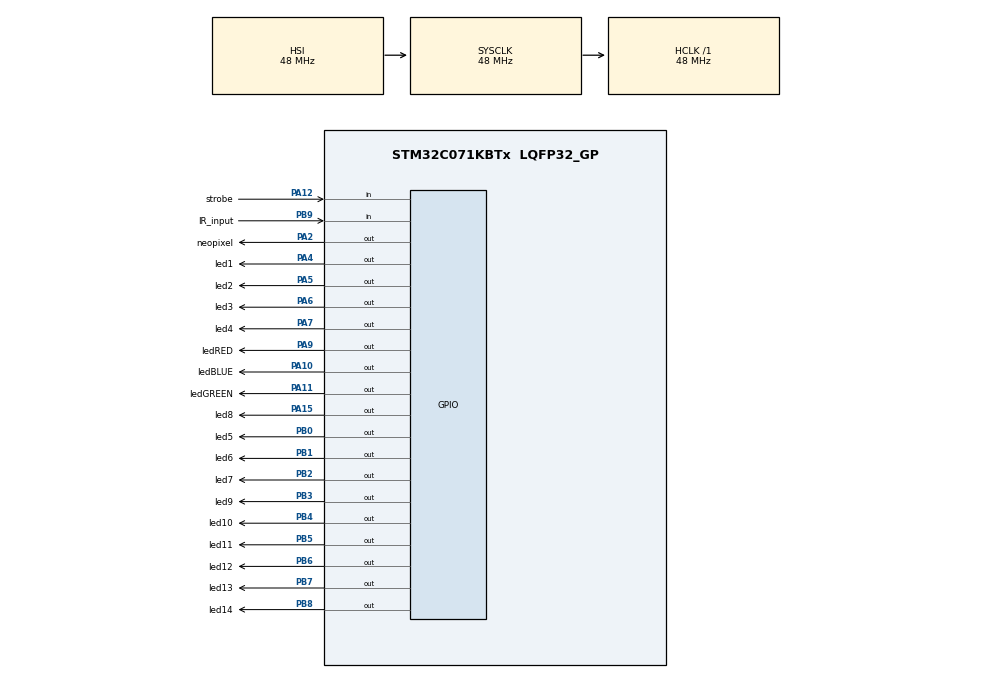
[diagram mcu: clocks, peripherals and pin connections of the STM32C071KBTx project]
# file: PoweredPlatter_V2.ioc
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Mcu.Family=STM32C0
Mcu.Name=STM32C071KBTx
Mcu.Package=LQFP32_GP
PA10.GPIO_Label=ledBLUE
PA10.Signal=GPIO_Output
PA11\ [PA9].GPIO_Label=ledGREEN
PA11\ [PA9].Signal=GPIO_Output
PA12\ [PA10].GPIO_Label=strobe
PA12\ [PA10].Signal=GPIO_Input
PA13.Mode=Serial_Wire
PA13.Signal=DEBUG_SWDIO
PA14-BOOT0.Mode=Serial_Wire
PA14-BOOT0.Signal=DEBUG_SWCLK
PA15.GPIO_Label=led8
PA15.Signal=GPIO_Output
PA2.GPIO_Label=neopixel
PA2.Signal=GPIO_Output
PA4.GPIO_Label=led1
PA4.Signal=GPIO_Output
PA5.GPIO_Label=led2
PA5.Signal=GPIO_Output
PA6.GPIO_Label=led3
PA6.Signal=GPIO_Output
PA7.GPIO_Label=led4
PA7.Signal=GPIO_Output
PA9.GPIO_Label=ledRED
PA9.Signal=GPIO_Output
PB0.GPIO_Label=led5
PB0.Signal=GPIO_Output
PB1.GPIO_Label=led6
PB1.Signal=GPIO_Output
PB2.GPIO_Label=led7
PB2.Signal=GPIO_Output
PB3.GPIO_Label=led9
PB3.Signal=GPIO_Output
PB4.GPIO_Label=led10
PB4.Signal=GPIO_Output
PB5.GPIO_Label=led11
PB5.Signal=GPIO_Output
PB6.GPIO_Label=led12
PB6.Signal=GPIO_Output
PB7.GPIO_Label=led13
PB7.Signal=GPIO_Output
PB8.GPIO_Label=led14
PB8.Signal=GPIO_Output
PB9.GPIO_Label=IR_input
PB9.Signal=GPIO_Input
ProjectManager.HeapSize=0x200
ProjectManager.StackSize=0x400
ProjectManager.TargetToolchain=CMake
RCC.ADCFreq_Value=48000000
RCC.AHBFreq_Value=48000000
RCC.CortexFreq_Value=48000000
RCC.EXTERNAL_CLOCK_VALUE=12288000
RCC.HCLKFreq_Value=48000000
RCC.HSE_VALUE=8000000
RCC.HSI48_VALUE=48000000
RCC.HSISYSCLKDivider=RCC_HSI_DIV1
RCC.HSI_VALUE=48000000
RCC.LSE_VALUE=32768
RCC.SYSCLKFreq_VALUE=48000000
TIM2.Prescaler=48-1
VP_TIM2_VS_ClockSourceINT.Mode=Internal
board=custom

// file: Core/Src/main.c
/* USER CODE BEGIN Header */
/**
  ******************************************************************************
  * @file           : main.c
  * @brief          : Main program body
  ******************************************************************************
  * @attention
  *
  * Copyright (c) 2026 STMicroelectronics.
  * All rights reserved.
  *
  * This software is licensed under terms that can be found in the LICENSE file
  * in the root directory of this software component.
  * If no LICENSE file comes with this software, it is provided AS-IS.
  *
  ******************************************************************************
  */
/* USER CODE END Header */
#include "main.h"

TIM_HandleTypeDef htim2;

/* USER CODE BEGIN PV */
uint32_t currentTime = 0; //generic time keeping variable (used everywhere, changes a lot)

uint32_t heartbeatPulseTime = 100; //for pulse timing
uint32_t heartbeatLastTime = 0; //for time tracking

//strobe signal variables - strobe signal is active LOW
uint8_t strobeState = 0; //current value of the strobe state
uint8_t prevStrobeState = 0; //previous reading of the strobe state
uint32_t strobeSignalLastTime = 0; //for signal timing (reading)
uint32_t strobeSignalPeriodTime = 2000; //period between signal pulses, set to large value to default to idle mode
uint32_t strobeSignalRunningCounter = 0; //running timer so we can jump to idle mode if needed

uint32_t rotationRunningModeCuttoff = 750; //how fast does the platter need to spin to go to running mode
uint8_t mode = 0; //0=idle, 1=running, 2=error

//idle mode variables
uint32_t idleModeLastTime = 0; //for time tracking the idle mode animation
uint32_t idleModeAnimationTime = 100; //animation speed control for idle mode
uint8_t idleModeAnimationIndex = 0; //animation current index for idle mode animation
uint8_t prevIdleModeAnimationIndex = 0; //for tracking when the index changes, to prevent unnecessary display updates
uint8_t idleModeAnimationMaxIndex = 7; //max animation index value before triggering rollover

//display variables
uint16_t display[150][7]; //values for each LED in the array X x Y, indexed bottom left corner
uint16_t frameCount = 150; //one frame for each column in the display
uint16_t blade2FrameOffset = 75; //used for second strip of LEDs
uint16_t frameIndex = 0; //what is the frame currently displayed
uint16_t prevFrameIndex = 0; //for tracking when frame index changes - prevent unnecessary updates
uint8_t frameTurnedOff = 0; //ensure the lights are not on too long - controls motion blur (flag to indicate if the lights have been turned off)
uint32_t frameOnTime = 8; //how long should the LEDs be on for - us
uint32_t frameTime = 0; //indexing time for each frame - rotation time / frames, converted from ms to us
uint32_t frameIndexTime = 0; //for timing reasons - control when to turn the LEDs OFF

//variables for display characters
//capital letters
uint8_t dotDisplay_A[7] = { 0b10001000, //A
                            0b10001000,
                            0b10001000,
                            0b11111000,
                            0b10001000,
                            0b10001000,
                            0b01110000};

uint8_t dotDisplay_B[7] = { 0b11110000, //B
                            0b10001000,
                            0b10001000,
                            0b11110000,
                            0b10001000,
                            0b10001000,
                            0b11110000};

uint8_t dotDisplay_C[7] = { 0b01111000, //C
                            0b10000000,
                            0b10000000,
                            0b10000000,
                            0b10000000,
                            0b10000000,
                            0b01111000};

uint8_t dotDisplay_D[7] = { 0b11110000, //D
                            0b10001000,
                            0b10001000,
                            0b10001000,
                            0b10001000,
                            0b10001000,
                            0b11110000};

uint8_t dotDisplay_E[7] = { 0b11111000, //E
                            0b10000000,
                            0b10000000,
                            0b11110000,
                            0b10000000,
                            0b10000000,
                            0b11111000};

uint8_t dotDisplay_F[7] = { 0b10000000, //F
                            0b10000000,
                            0b10000000,
                            0b11110000,
                            0b10000000,
                            0b10000000,
                            0b11111000};

uint8_t dotDisplay_G[7] = { 0b01111000, //G
                            0b10001000,
                            0b10001000,
                            0b10011000,
                            0b10000000,
                            0b10000000,
                            0b01111000};

uint8_t dotDisplay_H[7] = { 0b10001000, //H
                            0b10001000,
                            0b10001000,
                            0b11111000,
                            0b10001000,
                            0b10001000,
                            0b10001000};

uint8_t dotDisplay_I[7] = { 0b11111000, //I
                            0b00100000,
                            0b00100000,
                            0b00100000,
                            0b00100000,
                            0b00100000,
                            0b11111000};

uint8_t dotDisplay_J[7] = { 0b01110000, //J
                            0b10001000,
                            0b10001000,
                            0b10001000,
                            0b00001000,
                            0b00001000,
                            0b11111000};

uint8_t dotDisplay_K[7] = { 0b10001000, //K
                            0b10010000,
                            0b10100000,
                            0b11000000,
                            0b10100000,
                            0b10010000,
                            0b10001000};

uint8_t dotDisplay_L[7] = { 0b11111000, //L
                            0b10000000,
                            0b10000000,
                            0b10000000,
                            0b10000000,
                            0b10000000,
                            0b10000000};

uint8_t dotDisplay_M[7] = { 0b10001000, //M
                            0b10001000,
                            0b10001000,
                            0b10101000,
                            0b10101000,
                            0b11011000,
                            0b10001000};

uint8_t dotDisplay_N[7] = { 0b10001000, //N
                            0b10001000,
                            0b10011000,
                            0b10101000,
                            0b11001000,
                            0b10001000,
                            0b10001000};

uint8_t dotDisplay_O[7] = { 0b01110000, //O
                            0b10001000,
                            0b10001000,
                            0b10001000,
                            0b10001000,
                            0b10001000,
                            0b01110000};

uint8_t dotDisplay_P[7] = { 0b10000000, //P
                            0b10000000,
                            0b10000000,
                            0b11110000,
                            0b10001000,
                            0b10001000,
                            0b11110000};

uint8_t dotDisplay_Q[7] = { 0b01111000, //Q
                            0b10011000,
                            0b10001000,
                            0b10001000,
                            0b10001000,
                            0b10001000,
                            0b01110000};

uint8_t dotDisplay_R[7] = { 0b10001000, //R
                            0b10010000,
                            0b10100000,
                            0b11110000,
                            0b10001000,
                            0b10001000,
                            0b11110000};

uint8_t dotDisplay_S[7] = { 0b11110000, //S
                            0b00001000,
                            0b00001000,
                            0b01110000,
                            0b10000000,
                            0b10000000,
                            0b01111000};

uint8_t dotDisplay_T[7] = { 0b00100000, //T
                            0b00100000,
                            0b00100000,
                            0b00100000,
                            0b00100000,
                            0b00100000,
                            0b11111000};

uint8_t dotDisplay_U[7] = { 0b01110000, //U
                            0b10001000,
                            0b10001000,
                            0b10001000,
                            0b10001000,
                            0b10001000,
                            0b10001000};

uint8_t dotDisplay_V[7] = { 0b00100000, //V
                            0b01010000,
                            0b10001000,
                            0b10001000,
                            0b10001000,
                            0b10001000,
                            0b10001000};

uint8_t dotDisplay_W[7] = { 0b01010000, //W
                            0b10101000,
                            0b10101000,
                            0b10101000,
                            0b10001000,
                            0b10001000,
                            0b10001000};

uint8_t dotDisplay_X[7] = { 0b10001000, //X
                            0b10001000,
                            0b01010000,
                            0b00100000,
                            0b01010000,
                            0b10001000,
                            0b10001000};

uint8_t dotDisplay_Y[7] = { 0b00100000, //Y
                            0b00100000,
                            0b00100000,
                            0b00100000,
                            0b01010000,
                            0b10001000,
                            0b10001000};

uint8_t dotDisplay_Z[7] = { 0b11111000, //Z
                            0b10000000,
                            0b01000000,
                            0b00100000,
                            0b00010000,
                            0b00001000,
                            0b11111000};

//lower case letters
uint8_t dotDisplay_a[7] = { 0b10001000, //a
                            0b10001000,
                            0b10001000,
                            0b11111000,
                            0b10001000,
                            0b10001000,
                            0b01110000};

uint8_t dotDisplay_b[7] = { 0b11110000, //b
                            0b10001000,
                            0b10001000,
                            0b11110000,
                            0b10001000,
                            0b10001000,
                            0b11110000};

uint8_t dotDisplay_c[7] = { 0b01111000, //c
                            0b10000000,
                            0b10000000,
                            0b10000000,
                            0b10000000,
                            0b10000000,
                            0b01111000};

uint8_t dotDisplay_d[7] = { 0b11110000, //d
                            0b10001000,
                            0b10001000,
                            0b10001000,
                            0b10001000,
                            0b10001000,
                            0b11110000};

uint8_t dotDisplay_e[7] = { 0b11111000, //e
                            0b10000000,
                            0b10000000,
                            0b11110000,
                            0b10000000,
                            0b10000000,
                            0b11111000};

uint8_t dotDisplay_f[7] = { 0b10000000, //f
                            0b10000000,
                            0b10000000,
                            0b11110000,
                            0b10000000,
                            0b10000000,
                            0b11111000};

uint8_t dotDisplay_g[7] = { 0b01111000, //g
                            0b10001000,
                            0b10001000,
                            0b10011000,
                            0b10000000,
                            0b10000000,
                            0b01111000};

uint8_t dotDisplay_h[7] = { 0b10001000, //h
                            0b10001000,
                            0b10001000,
                            0b11111000,
                            0b10001000,
                            0b10001000,
                            0b10001000};

uint8_t dotDisplay_i[7] = { 0b11111000, //i
                            0b00100000,
                            0b00100000,
                            0b00100000,
                            0b00100000,
                            0b00100000,
                            0b11111000};

uint8_t dotDisplay_j[7] = { 0b01110000, //j
                            0b10001000,
                            0b10001000,
                            0b10001000,
                            0b00001000,
                            0b00001000,
                            0b11111000};

uint8_t dotDisplay_k[7] = { 0b10001000, //k
                            0b10010000,
                            0b10100000,
                            0b11000000,
                            0b10100000,
                            0b10010000,
                            0b10001000};

uint8_t dotDisplay_l[7] = { 0b11111000, //l
                            0b10000000,
                            0b10000000,
                            0b10000000,
                            0b10000000,
                            0b10000000,
                            0b10000000};

uint8_t dotDisplay_m[7] = { 0b10001000, //m
                            0b10001000,
                            0b10001000,
                            0b10101000,
                            0b10101000,
                            0b11011000,
                            0b10001000};

uint8_t dotDisplay_n[7] = { 0b10001000, //n
                            0b10001000,
                            0b10011000,
                            0b10101000,
                            0b11001000,
                            0b10001000,
                            0b10001000};

uint8_t dotDisplay_o[7] = { 0b01110000, //o
                            0b10001000,
                            0b10001000,
                            0b10001000,
                            0b10001000,
                            0b10001000,
                            0b01110000};

uint8_t dotDisplay_p[7] = { 0b10000000, //p
                            0b10000000,
                            0b10000000,
                            0b11110000,
                            0b10001000,
                            0b10001000,
                            0b11110000};

uint8_t dotDisplay_q[7] = { 0b01111000, //q
                            0b10011000,
                            0b10001000,
                            0b10001000,
                            0b10001000,
                            0b10001000,
                            0b01110000};

uint8_t dotDisplay_r[7] = { 0b10001000, //r
                            0b10010000,
                            0b10100000,
                            0b11110000,
                            0b10001000,
                            0b10001000,
                            0b11110000};

uint8_t dotDisplay_s[7] = { 0b11110000, //s
                            0b00001000,
                            0b00001000,
                            0b01110000,
                            0b10000000,
                            0b10000000,
                            0b01111000};

uint8_t dotDisplay_t[7] = { 0b00100000, //t
                            0b00100000,
                            0b00100000,
                            0b00100000,
                            0b00100000,
                            0b00100000,
                            0b11111000};

uint8_t dotDisplay_u[7] = { 0b01110000, //u
                            0b10001000,
                            0b10001000,
                            0b10001000,
                            0b10001000,
                            0b10001000,
                            0b10001000};

uint8_t dotDisplay_v[7] = { 0b00100000, //v
                            0b01010000,
                            0b10001000,
                            0b10001000,
                            0b10001000,
                            0b10001000,
                            0b10001000};

uint8_t dotDisplay_w[7] = { 0b01010000, //w
                            0b10101000,
                            0b10101000,
                            0b10101000,
                            0b10001000,
                            0b10001000,
                            0b10001000};

uint8_t dotDisplay_x[7] = { 0b10001000, //x
                            0b10001000,
                            0b01010000,
                            0b00100000,
                            0b01010000,
                            0b10001000,
                            0b10001000};

uint8_t dotDisplay_y[7] = { 0b00100000, //y
                            0b00100000,
                            0b00100000,
                            0b00100000,
                            0b01010000,
                            0b10001000,
                            0b10001000};

uint8_t dotDisplay_z[7] = { 0b11111000, //z
                            0b10000000,
                            0b01000000,
                            0b00100000,
                            0b00010000,
                            0b00001000,
                            0b11111000};

/* USER CODE END PV */

void SystemClock_Config(void);
static void MX_GPIO_Init(void);
static void MX_TIM2_Init(void);
/* USER CODE BEGIN PFP */
void heartbeat(void); //basic heartbeat LED - also indicates if error
void readStrobe(void); //reads the strobe pin, sees if it has changed, records speed timing and sets mode
void readIR(void); //this sets the RED led to match whatever the output of the IR signal is

void resetBlades(void); //sets all the LEDs on the LED blades to OFF

void displayRuntime(uint8_t modeSelection); //display LEDs output and control (stroboscopic display and idle mode)
void idleMode(void); //LED animation for when the platter is not spinning fast enough for stroboscopic display
void idleModeAnimationControl(uint8_t index); //control of the LEDs in idle mode

void displayControl(void); //controls LEDs to create the display
void displayLEDControl(uint8_t frame); // sets appropriate LEDS ON for the current frame

void clearDisplayArray(void);

void displaySet_HelloWorld(void);

void scrappyTesting(void); //to test things without making a mess
/* USER CODE END PFP */

int main(void)
{

  /* MCU Configuration--------------------------------------------------------*/

  /* Reset of all peripherals, Initializes the Flash interface and the Systick. */
  HAL_Init();

  /* Configure the system clock */
  SystemClock_Config();

  /* Initialize all configured peripherals */
  MX_GPIO_Init();
  MX_TIM2_Init();

  /* Infinite loop */
  /* USER CODE BEGIN WHILE */

  //start the animation control timer
  HAL_TIM_Base_Start(&htim2);

  //set all blade LEDs to OFF
  resetBlades();

  //set display to "Hello World"
  displaySet_HelloWorld();

  /*
  //turning all the pixels ON
  for(uint8_t k=0; k<frameCount; k++){
    for(uint8_t e=0; e<7; e++){
      display[k][e] = 1;
    }
  }
  */

  while (1)
  {
    heartbeat(); //basic heartbeat LED - also indicates if error
    readStrobe(); //reads the strobe pin, sees if it has changed, records speed timing and sets mode
    readIR(); //this sets the RED led to match whatever the output of the IR signal is
    displayRuntime(mode); //display LEDs output and control (stroboscopic display and idle mode)

    /* USER CODE END WHILE */

  }
}

void SystemClock_Config(void)
{
  RCC_OscInitTypeDef RCC_OscInitStruct = {0};
  RCC_ClkInitTypeDef RCC_ClkInitStruct = {0};

  __HAL_FLASH_SET_LATENCY(FLASH_LATENCY_1);

  /** Initializes the RCC Oscillators according to the specified parameters
  * in the RCC_OscInitTypeDef structure.
  */
  RCC_OscInitStruct.OscillatorType = RCC_OSCILLATORTYPE_HSI;
  RCC_OscInitStruct.HSIState = RCC_HSI_ON;
  RCC_OscInitStruct.HSIDiv = RCC_HSI_DIV1;
  RCC_OscInitStruct.HSICalibrationValue = RCC_HSICALIBRATION_DEFAULT;
  if (HAL_RCC_OscConfig(&RCC_OscInitStruct) != HAL_OK)
  {
    Error_Handler();
  }

  /** Initializes the CPU, AHB and APB buses clocks
  */
  RCC_ClkInitStruct.ClockType = RCC_CLOCKTYPE_HCLK|RCC_CLOCKTYPE_SYSCLK
                              |RCC_CLOCKTYPE_PCLK1;
  RCC_ClkInitStruct.SYSCLKSource = RCC_SYSCLKSOURCE_HSI;
  RCC_ClkInitStruct.SYSCLKDivider = RCC_SYSCLK_DIV1;
  RCC_ClkInitStruct.AHBCLKDivider = RCC_HCLK_DIV1;
  RCC_ClkInitStruct.APB1CLKDivider = RCC_APB1_DIV1;

  if (HAL_RCC_ClockConfig(&RCC_ClkInitStruct, FLASH_LATENCY_1) != HAL_OK)
  {
    Error_Handler();
  }
}

static void MX_TIM2_Init(void)
{

  TIM_ClockConfigTypeDef sClockSourceConfig = {0};
  TIM_MasterConfigTypeDef sMasterConfig = {0};

  htim2.Instance = TIM2;
  htim2.Init.Prescaler = 48-1;
  htim2.Init.CounterMode = TIM_COUNTERMODE_UP;
  htim2.Init.Period = 4294967295;
  htim2.Init.ClockDivision = TIM_CLOCKDIVISION_DIV1;
  htim2.Init.AutoReloadPreload = TIM_AUTORELOAD_PRELOAD_DISABLE;
  if (HAL_TIM_Base_Init(&htim2) != HAL_OK)
  {
    Error_Handler();
  }
  sClockSourceConfig.ClockSource = TIM_CLOCKSOURCE_INTERNAL;
  if (HAL_TIM_ConfigClockSource(&htim2, &sClockSourceConfig) != HAL_OK)
  {
    Error_Handler();
  }
  sMasterConfig.MasterOutputTrigger = TIM_TRGO_RESET;
  sMasterConfig.MasterSlaveMode = TIM_MASTERSLAVEMODE_DISABLE;
  if (HAL_TIMEx_MasterConfigSynchronization(&htim2, &sMasterConfig) != HAL_OK)
  {
    Error_Handler();
  }

}

static void MX_GPIO_Init(void)
{
  GPIO_InitTypeDef GPIO_InitStruct = {0};

  /* GPIO Ports Clock Enable */
  __HAL_RCC_GPIOB_CLK_ENABLE();
  __HAL_RCC_GPIOA_CLK_ENABLE();

  /*Configure GPIO pin Output Level */
  HAL_GPIO_WritePin(GPIOA, neopixel_Pin|led1_Pin|led2_Pin|led3_Pin
                          |led4_Pin|ledRED_Pin|ledBLUE_Pin|ledGREEN_Pin
                          |led8_Pin, GPIO_PIN_RESET);

  /*Configure GPIO pin Output Level */
  HAL_GPIO_WritePin(GPIOB, led5_Pin|led6_Pin|led7_Pin|led9_Pin
                          |led10_Pin|led11_Pin|led12_Pin|led13_Pin
                          |led14_Pin, GPIO_PIN_RESET);

  /*Configure GPIO pin : IR_input_Pin */
  GPIO_InitStruct.Pin = IR_input_Pin;
  GPIO_InitStruct.Mode = GPIO_MODE_INPUT;
  GPIO_InitStruct.Pull = GPIO_NOPULL;
  HAL_GPIO_Init(IR_input_GPIO_Port, &GPIO_InitStruct);

  /*Configure GPIO pins : neopixel_Pin led1_Pin led2_Pin led3_Pin
                           led4_Pin ledRED_Pin ledBLUE_Pin ledGREEN_Pin
                           led8_Pin */
  GPIO_InitStruct.Pin = neopixel_Pin|led1_Pin|led2_Pin|led3_Pin
                          |led4_Pin|ledRED_Pin|ledBLUE_Pin|ledGREEN_Pin
                          |led8_Pin;
  GPIO_InitStruct.Mode = GPIO_MODE_OUTPUT_PP;
  GPIO_InitStruct.Pull = GPIO_NOPULL;
  GPIO_InitStruct.Speed = GPIO_SPEED_FREQ_LOW;
  HAL_GPIO_Init(GPIOA, &GPIO_InitStruct);

  /*Configure GPIO pins : led5_Pin led6_Pin led7_Pin led9_Pin
                           led10_Pin led11_Pin led12_Pin led13_Pin
                           led14_Pin */
  GPIO_InitStruct.Pin = led5_Pin|led6_Pin|led7_Pin|led9_Pin
                          |led10_Pin|led11_Pin|led12_Pin|led13_Pin
                          |led14_Pin;
  GPIO_InitStruct.Mode = GPIO_MODE_OUTPUT_PP;
  GPIO_InitStruct.Pull = GPIO_NOPULL;
  GPIO_InitStruct.Speed = GPIO_SPEED_FREQ_LOW;
  HAL_GPIO_Init(GPIOB, &GPIO_InitStruct);

  /*Configure GPIO pin : strobe_Pin */
  GPIO_InitStruct.Pin = strobe_Pin;
  GPIO_InitStruct.Mode = GPIO_MODE_INPUT;
  GPIO_InitStruct.Pull = GPIO_NOPULL;
  HAL_GPIO_Init(strobe_GPIO_Port, &GPIO_InitStruct);

}

/* USER CODE BEGIN 4 */
//basic heartbeat function to indicate the system is alive
void heartbeat(void){
  currentTime = HAL_GetTick();
  if(currentTime > heartbeatLastTime + heartbeatPulseTime){
    heartbeatLastTime = currentTime;
    if(mode == 2){
      //error mode - blink the error LED
      HAL_GPIO_TogglePin(ledRED_GPIO_Port, ledRED_Pin);
      HAL_GPIO_TogglePin(ledGREEN_GPIO_Port, ledGREEN_Pin);
      HAL_GPIO_TogglePin(ledBLUE_GPIO_Port, ledBLUE_Pin);
    }else{
      if(mode == 0){
        //idle mode
        //normal heartbeat LED
        HAL_GPIO_TogglePin(ledRED_GPIO_Port, ledRED_Pin);
      }else{
        if(mode == 1){
          //running mode
          HAL_GPIO_TogglePin(ledGREEN_GPIO_Port, ledGREEN_Pin); //blink green LED to ensure we are in the right mode
        }
      }
    }
  }
}

//reads the strobe signal and tracks timing between signal pulses
void readStrobe(void){

  //temp test with the LED
  HAL_GPIO_WritePin(ledBLUE_GPIO_Port, ledBLUE_Pin, !HAL_GPIO_ReadPin(strobe_GPIO_Port, strobe_Pin));

  currentTime = HAL_GetTick(); //note the time

  strobeState = HAL_GPIO_ReadPin(strobe_GPIO_Port, strobe_Pin);
  if((strobeState != prevStrobeState) && (strobeState == 0)){
    //new pulse, strobe state is different than last time and it is also LOW
    TIM2->CNT = 0; //reset the timer used for animation (us timer)
    strobeSignalPeriodTime = currentTime - strobeSignalLastTime;
    strobeSignalLastTime = currentTime;
    strobeSignalRunningCounter = 0;
    frameTime = (strobeSignalPeriodTime * 1000) / frameCount; //frame time converted into us
    frameIndex = 0; //starting at frame 0, first column of the display

    if(strobeSignalPeriodTime < rotationRunningModeCuttoff){
      //rotating fast enough to turn on display
      mode = 1; //running mode
    }else{
      //not spinning fast enough - go to idle mode
      mode = 0; //idle mode
    }
  }else{
    //increment the frame index as necessary based on speed and frame time calculations
    if(mode == 1){
      //keep track of what index we are on
      currentTime = TIM2->CNT;
      if(currentTime > frameTime){
        frameIndex = currentTime / frameTime;
        frameIndexTime = TIM2->CNT; //note when we turn the LEDs ON, so we turn them OFF at the right time
      }else{
        frameIndex = 0;
      }
    }
  }
  prevStrobeState = strobeState; //update the prev state flag now that we have used its value

  //set a catch here for a running counter of the strobe signal so we can jump to idle if platter slows
  currentTime = HAL_GetTick();
  strobeSignalRunningCounter = currentTime - strobeSignalLastTime; //timer tracking how long since last pulse
  if(strobeSignalRunningCounter > rotationRunningModeCuttoff){
    //too long since seeing a strobe pulse - turn off the display and return to IDLE
    mode = 0; //idle mode
  }

}

void readIR(void){
  //really fast testing here to see how this works
  //mirror IR signl to the RED LED
  HAL_GPIO_WritePin(ledBLUE_GPIO_Port, ledBLUE_Pin, !HAL_GPIO_ReadPin(IR_input_GPIO_Port, IR_input_Pin));
}

//display LEDs output and control (stroboscopic display and idle mode)
void displayRuntime(uint8_t modeSelection){

  //we pass in the global variable because its easier to tell what is happening from main loop
  switch(modeSelection){
    case 0: //idle mode
      idleMode();
    break;
    case 1: //spinning, stroboscopic display mode
      //so something
      //resetBlades(); //turn off LEDs - for now
      displayControl(); //control LEDs for the display
    break;
    case 2: //error mode
      //do something
      resetBlades(); //turn off LEDs - for now
    break;
  }
}

void displayControl(void){
  //this will control the LEDs for the display
  if(frameIndex != prevFrameIndex){
    prevFrameIndex = frameIndex;
    //top of new frame
    frameTurnedOff = 0; //about to turn the LEDs ON, they have not yet been turned OFF

    //turn on the correct LEDs for this frame
    displayLEDControl(frameIndex);

  }else{
    //still the same frame as last time
    if(!frameTurnedOff){
      //the LEDs are still ON, check for when to turn them OFF
      currentTime = TIM2->CNT;
      if(currentTime > frameIndexTime + frameOnTime){
        //time to turn the LEDs OFF
        frameTurnedOff = 1; //set LEDs OFF flag
        resetBlades(); //turn OFF the display LEDs
      }
    }
  }
}

void displayLEDControl(uint8_t frame){

  uint16_t blade2Frame = 0;

  if(frame >= blade2FrameOffset){ //this is setting the second strip of LEDs - need to handle rollover
    //handle rollover
    blade2Frame = (frame + blade2FrameOffset) - frameCount;
  }else{
    //simple offset
    blade2Frame = frame + blade2FrameOffset;
  }

  //we set the LEDs that need to be on for the current frame - there is one frame for each column of the display

  if(frame < frameCount){

    //blade 1
    HAL_GPIO_WritePin(led1_GPIO_Port, led1_Pin, display[frame][0]); //led 1, bottom row
    HAL_GPIO_WritePin(led2_GPIO_Port, led2_Pin, display[frame][1]); //led 2
    HAL_GPIO_WritePin(led3_GPIO_Port, led3_Pin, display[frame][2]); //led 3
    HAL_GPIO_WritePin(led4_GPIO_Port, led4_Pin, display[frame][3]); //led 4
    HAL_GPIO_WritePin(led5_GPIO_Port, led5_Pin, display[frame][4]); //led 5
    HAL_GPIO_WritePin(led6_GPIO_Port, led6_Pin, display[frame][5]); //led 6
    HAL_GPIO_WritePin(led7_GPIO_Port, led7_Pin, display[frame][6]); //led 7

  }

  if(blade2Frame < frameCount){

    //blade 2 - 180 offset from blade 1, offset on display by 1/2 of display - 75 pixels. Need to also handle wrap around
    HAL_GPIO_WritePin(led14_GPIO_Port, led14_Pin, display[blade2Frame][0]); //led 14, bottom row, 180 out from blade 1, 75 pixels offset from blade 1
    HAL_GPIO_WritePin( led13_GPIO_Port, led13_Pin, display[blade2Frame][1]); //led 13
    HAL_GPIO_WritePin( led12_GPIO_Port, led12_Pin, display[blade2Frame][2]); //led 12
    HAL_GPIO_WritePin( led11_GPIO_Port, led11_Pin, display[blade2Frame][3]); //led 11
    HAL_GPIO_WritePin( led10_GPIO_Port, led10_Pin, display[blade2Frame][4]); //led 10
    HAL_GPIO_WritePin( led9_GPIO_Port, led9_Pin, display[blade2Frame][5]); //led 9
    HAL_GPIO_WritePin( led8_GPIO_Port, led8_Pin, display[blade2Frame][6]); //led 8

  }

}

void idleMode(void){

  currentTime = HAL_GetTick();
  if(currentTime > idleModeLastTime + idleModeAnimationTime){
    idleModeLastTime = currentTime;

    if(idleModeAnimationIndex > 0){
      idleModeAnimationIndex--;
    }else{
      idleModeAnimationIndex = idleModeAnimationMaxIndex - 1;
    }

    if(idleModeAnimationIndex != prevIdleModeAnimationIndex){ //this check is redundant
      idleModeAnimationControl(idleModeAnimationIndex);
    }
    prevIdleModeAnimationIndex = idleModeAnimationIndex;

  }
}

void idleModeAnimationControl(uint8_t index){

  if(index > idleModeAnimationMaxIndex){
    //invalid entry
  }

  //reset the LEDs before setting the LEDs
  resetBlades();

  switch(index){
    case 0:
      //do something
      HAL_GPIO_WritePin(led1_GPIO_Port, led1_Pin, 1); //blade 1
      HAL_GPIO_WritePin(led14_GPIO_Port, led14_Pin, 1); //blade 2
    break;

    case 1:
      //do something
      HAL_GPIO_WritePin(led2_GPIO_Port, led2_Pin, 1); //blade 1
      HAL_GPIO_WritePin(led13_GPIO_Port, led13_Pin, 1); //blade 2
    break;

    case 2:
      //do something
      HAL_GPIO_WritePin(led3_GPIO_Port, led3_Pin, 1); //blade 1
      HAL_GPIO_WritePin(led12_GPIO_Port, led12_Pin, 1); //blade 2
    break;

    case 3:
      //do something
      HAL_GPIO_WritePin(led4_GPIO_Port, led4_Pin, 1); //blade 1
      HAL_GPIO_WritePin(led11_GPIO_Port, led11_Pin, 1); //blade 2
    break;

    case 4:
      //do something
      HAL_GPIO_WritePin(led5_GPIO_Port, led5_Pin, 1); //blade 1
      HAL_GPIO_WritePin(led10_GPIO_Port, led10_Pin, 1); //blade 2
    break;

    case 5:
      //do something
      HAL_GPIO_WritePin(led6_GPIO_Port, led6_Pin, 1); //blade 1
      HAL_GPIO_WritePin(led9_GPIO_Port, led9_Pin, 1); //blade 2
    break;

    case 6:
      //do something
      HAL_GPIO_WritePin(led7_GPIO_Port, led7_Pin, 1); //blade 1
      HAL_GPIO_WritePin(led8_GPIO_Port, led8_Pin, 1); //blade 2
    break;

    case 7:
      //do something
    break;
  }

}

void resetBlades(void){
  //blade 1
  HAL_GPIO_WritePin(led1_GPIO_Port, led1_Pin, 0);
  HAL_GPIO_WritePin(led2_GPIO_Port, led2_Pin, 0);
  HAL_GPIO_WritePin(led3_GPIO_Port, led3_Pin, 0);
  HAL_GPIO_WritePin(led4_GPIO_Port, led4_Pin, 0);
  HAL_GPIO_WritePin(led5_GPIO_Port, led5_Pin, 0);
  HAL_GPIO_WritePin(led6_GPIO_Port, led6_Pin, 0);
  HAL_GPIO_WritePin(led7_GPIO_Port, led7_Pin, 0);

  //blade 2
  HAL_GPIO_WritePin(led8_GPIO_Port, led8_Pin, 0);
  HAL_GPIO_WritePin(led9_GPIO_Port, led9_Pin, 0);
  HAL_GPIO_WritePin(led10_GPIO_Port, led10_Pin, 0);
  HAL_GPIO_WritePin(led11_GPIO_Port, led11_Pin, 0);
  HAL_GPIO_WritePin(led12_GPIO_Port, led12_Pin, 0);
  HAL_GPIO_WritePin(led13_GPIO_Port, led13_Pin, 0);
  HAL_GPIO_WritePin(led14_GPIO_Port, led14_Pin, 0);
}

void displaySet_HelloWorld(void){

  uint8_t startIndex = 10; //where does Hello World start on the display

  //set the display array to say "Hello World"
  //first clear the display
  clearDisplayArray();

  //resetBlades();

  //H
  for(uint8_t k=0; k<7; k++){
    display[startIndex][k] = 1; //turn on one pixel to test the system
  }
  startIndex++;
  display[startIndex][3] = 1;
  startIndex++;
  display[startIndex][3] = 1;
  startIndex++;
  display[startIndex][3] = 1;
  startIndex++;
  for(uint8_t k=0; k<7; k++){
    display[startIndex][k] = 1; //turn on one pixel to test the system
  }
  startIndex+=2; //add extra space after character

  //e
  for(uint8_t k=1; k<4; k++){
    display[startIndex][k] = 1; //turn on one pixel to test the system
  }
  startIndex++;
  display[startIndex][0] = 1;
  display[startIndex][1] = 0;
  display[startIndex][2] = 1;
  display[startIndex][3] = 0;
  display[startIndex][4] = 1;
  display[startIndex][5] = 0;
  display[startIndex][6] = 0;
  display[startIndex][7] = 0;
  startIndex++;
  display[startIndex][0] = 1;
  display[startIndex][2] = 1;
  display[startIndex][4] = 1;
  startIndex++;
  display[startIndex][0] = 1;
  display[startIndex][2] = 1;
  display[startIndex][3] = 1;
  startIndex+=2; //add extra space after character

  //l
  display[startIndex][0] = 1;
  display[startIndex][6] = 1;
  startIndex++;
  for(uint8_t k=0; k<7; k++){
    display[startIndex][k] = 1; //turn on one pixel to test the system
  }
  startIndex++;
  display[startIndex][0] = 1;
  startIndex+=2; //add extra space between characters

  //l
  display[startIndex][0] = 1;
  display[startIndex][6] = 1;
  startIndex++;
  for(uint8_t k=0; k<7; k++){
    display[startIndex][k] = 1; //turn on one pixel to test the system
  }
  startIndex++;
  display[startIndex][0] = 1;
  startIndex+=2; //add extra space between characters

  //o
  for(uint8_t k=1; k<4; k++){
    display[startIndex][k] = 1; //turn on one pixel to test the system
  }
  startIndex++;
  display[startIndex][0] = 1;
  display[startIndex][4] = 1;
  startIndex++;
  display[startIndex][0] = 1;
  display[startIndex][4] = 1;
  startIndex++;
  for(uint8_t k=1; k<4; k++){
    display[startIndex][k] = 1; //turn on one pixel to test the system
  }
  startIndex+=2; //add extra space between characters

  startIndex+=4; //add extra space between words

  //W
  for(uint8_t k=1; k<7; k++){
    display[startIndex][k] = 1; //turn on one pixel to test the system
  }
  startIndex++;
  display[startIndex][0] = 1;
  startIndex++;
  display[startIndex][0] = 1;
  startIndex++;
  for(uint8_t k=1; k<5; k++){
    display[startIndex][k] = 1; //turn on one pixel to test the system
  }
  startIndex++;
  display[startIndex][0] = 1;
  startIndex++;
  display[startIndex][0] = 1;
  startIndex++;
  for(uint8_t k=1; k<7; k++){
    display[startIndex][k] = 1; //turn on one pixel to test the system
  }
  startIndex+=2; //add extra space between characters

  //o
  for(uint8_t k=1; k<4; k++){
    display[startIndex][k] = 1; //turn on one pixel to test the system
  }
  startIndex++;
  display[startIndex][0] = 1;
  display[startIndex][4] = 1;
  startIndex++;
  display[startIndex][0] = 1;
  display[startIndex][4] = 1;
  startIndex++;
  for(uint8_t k=1; k<4; k++){
    display[startIndex][k] = 1; //turn on one pixel to test the system
  }
  startIndex+=2; //add extra space between characters

  //r
  for(uint8_t k=0; k<5; k++){
    display[startIndex][k] = 1; //turn on one pixel to test the system
  }
  startIndex++;
  display[startIndex][4] = 1;
  startIndex++;
  display[startIndex][4] = 1;
  startIndex++;
  display[startIndex][4] = 1;
  startIndex++;
  display[startIndex][3] = 1;
  startIndex+=2; //add extra space between characters

  //l
  display[startIndex][0] = 1;
  display[startIndex][6] = 1;
  startIndex++;
  for(uint8_t k=0; k<7; k++){
    display[startIndex][k] = 1; //turn on one pixel to test the system
  }
  startIndex++;
  display[startIndex][0] = 1;
  startIndex+=2; //add extra space between characters

  //d
  for(uint8_t k=1; k<4; k++){
    display[startIndex][k] = 1; //turn on one pixel to test the system
  }
  startIndex++;
  display[startIndex][0] = 1;
  display[startIndex][4] = 1;
  startIndex++;
  display[startIndex][0] = 1;
  display[startIndex][4] = 1;
  startIndex++;
  for(uint8_t k=0; k<7; k++){
    display[startIndex][k] = 1; //turn on one pixel to test the system
  }

}

void clearDisplayArray(void){
  //clearing the entire display array
  for(uint8_t k=0; k<frameCount; k++){
    for(uint8_t e=0; e<7; e++){
      display[k][e] = 0;
    }
  }
}

//for fast testing stuff
void scrappyTesting(void){

  //HAL_GPIO_TogglePin(ledGREEN_GPIO_Port, ledGREEN_Pin);
  //HAL_GPIO_TogglePin(ledBLUE_GPIO_Port, ledBLUE_Pin);
  HAL_GPIO_TogglePin(ledRED_GPIO_Port, ledRED_Pin);
  HAL_Delay(500);

  //led 1
  HAL_GPIO_TogglePin(led1_GPIO_Port, led1_Pin);
  HAL_Delay(250);
  HAL_GPIO_TogglePin(led1_GPIO_Port, led1_Pin);
  HAL_Delay(250);
  //led 2
  HAL_GPIO_TogglePin(led2_GPIO_Port, led2_Pin);
  HAL_Delay(250);
  HAL_GPIO_TogglePin(led2_GPIO_Port, led2_Pin);
  HAL_Delay(250);
  //led 3
  HAL_GPIO_TogglePin(led3_GPIO_Port, led3_Pin);
  HAL_Delay(250);
  HAL_GPIO_TogglePin(led3_GPIO_Port, led3_Pin);
  HAL_Delay(250);
  //led 4
  HAL_GPIO_TogglePin(led4_GPIO_Port, led4_Pin);
  HAL_Delay(250);
  HAL_GPIO_TogglePin(led4_GPIO_Port, led4_Pin);
  HAL_Delay(250);
  //led 5
  HAL_GPIO_TogglePin(led5_GPIO_Port, led5_Pin);
  HAL_Delay(250);
  HAL_GPIO_TogglePin(led5_GPIO_Port, led5_Pin);
  HAL_Delay(250);
  //led 6
  HAL_GPIO_TogglePin(led6_GPIO_Port, led6_Pin);
  HAL_Delay(250);
  HAL_GPIO_TogglePin(led6_GPIO_Port, led6_Pin);
  HAL_Delay(250);
  //led 7
  HAL_GPIO_TogglePin(led7_GPIO_Port, led7_Pin);
  HAL_Delay(250);
  HAL_GPIO_TogglePin(led7_GPIO_Port, led7_Pin);
  HAL_Delay(250);

  //led 8 (blade 2 pixel 7)
  HAL_GPIO_TogglePin(led8_GPIO_Port, led8_Pin);
  HAL_Delay(250);
  HAL_GPIO_TogglePin(led8_GPIO_Port, led8_Pin);
  HAL_Delay(250);
  //led 9 (blade 2 pixel 6)
  HAL_GPIO_TogglePin(led9_GPIO_Port, led9_Pin);
  HAL_Delay(250);
  HAL_GPIO_TogglePin(led9_GPIO_Port, led9_Pin);
  HAL_Delay(250);
  //led 10 (blade 2 pixel 5)
  HAL_GPIO_TogglePin(led10_GPIO_Port, led10_Pin);
  HAL_Delay(250);
  HAL_GPIO_TogglePin(led10_GPIO_Port, led10_Pin);
  HAL_Delay(250);
  //led 11 (blade 2 pixel 4)
  HAL_GPIO_TogglePin(led11_GPIO_Port, led11_Pin);
  HAL_Delay(250);
  HAL_GPIO_TogglePin(led11_GPIO_Port, led11_Pin);
  HAL_Delay(250);
  //led 12 (blade 2 pixel 3)
  HAL_GPIO_TogglePin(led12_GPIO_Port, led12_Pin);
  HAL_Delay(250);
  HAL_GPIO_TogglePin(led12_GPIO_Port, led12_Pin);
  HAL_Delay(250);
  //led 13 (blade 2 pixel 2)
  HAL_GPIO_TogglePin(led13_GPIO_Port, led13_Pin);
  HAL_Delay(250);
  HAL_GPIO_TogglePin(led13_GPIO_Port, led13_Pin);
  HAL_Delay(250);
  //led 14 (blade 2 pixel 1)
  HAL_GPIO_TogglePin(led14_GPIO_Port, led14_Pin);
  HAL_Delay(250);
  HAL_GPIO_TogglePin(led14_GPIO_Port, led14_Pin);
  HAL_Delay(250);
}

/* USER CODE END 4 */

void Error_Handler(void)
{
  __disable_irq();
  while (1)
  {
  }
}
